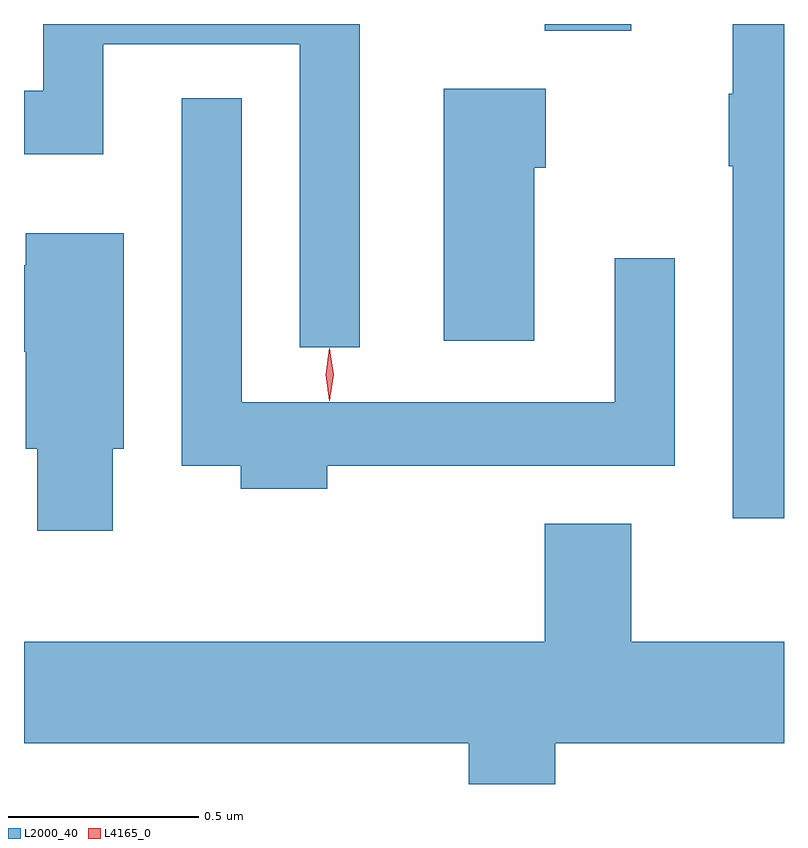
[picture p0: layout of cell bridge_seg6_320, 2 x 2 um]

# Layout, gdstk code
import gdstk
lib = gdstk.Library(unit=1e-6, precision=1e-09)
def R(c, l, rs):  # rectangles x0, y0, x1, y1
    for r in rs: c.add(gdstk.rectangle(r[:2], r[2:], *l))
def P(c, l, *ps):  # polygons
    for p in ps: c.add(gdstk.Polygon(p, *l))
L2000_40 = (2000, 40)
L4165_0 = (4165, 0)

bridge_seg6_320 = lib.new_cell('bridge_seg6_320')
R(bridge_seg6_320, L2000_40, [(1316.641,1554.131,1316.869,1554.149)])
P(bridge_seg6_320, L2000_40, [(1317.271,1554.149),(1317.136,1554.149),(1317.136,1553.965),(1317.126,1553.965),(1317.126,1553.775),(1317.136,1553.775),(1317.136,1552.848),(1317.271,1552.848)],
  [(1316.154,1554.149),(1315.321,1554.149),(1315.321,1553.974),(1315.271,1553.974),(1315.271,1553.806),(1315.479,1553.806),(1315.479,1554.096),(1315.996,1554.096),(1315.996,1553.298),(1316.154,1553.298)],
  [(1316.614,1553.771),(1316.644,1553.771),(1316.644,1553.979),(1316.376,1553.979),(1316.376,1553.316),(1316.614,1553.316)],
  [(1316.069,1552.986),(1316.984,1552.986),(1316.984,1553.533),(1316.826,1553.533),(1316.826,1553.154),(1315.844,1553.154),(1315.844,1553.953),(1315.686,1553.953),(1315.686,1552.986),(1315.841,1552.986),(1315.841,1552.926),(1316.069,1552.926)],
  [(1315.504,1553.031),(1315.534,1553.031),(1315.534,1553.599),(1315.276,1553.599),(1315.276,1553.514),(1315.271,1553.514),(1315.271,1553.286),(1315.276,1553.286),(1315.276,1553.031),(1315.306,1553.031),(1315.306,1552.816),(1315.504,1552.816)],
  [(1316.669,1552.256),(1317.271,1552.256),(1317.271,1552.524),(1316.869,1552.524),(1316.869,1552.834),(1316.641,1552.834),(1316.641,1552.524),(1315.271,1552.524),(1315.271,1552.256),(1316.441,1552.256),(1316.441,1552.149),(1316.669,1552.149)])
P(bridge_seg6_320, L4165_0, [(1316.075,1553.159),(1316.075,1553.16),(1316.065,1553.226),(1316.075,1553.292),(1316.075,1553.293),(1316.076,1553.292),(1316.086,1553.226),(1316.076,1553.16)],
  [(1316.074,1553.157),(1316.065,1553.226),(1316.074,1553.296),(1316.075,1553.296),(1316.075,1553.296),(1316.085,1553.226),(1316.075,1553.157),(1316.075,1553.157)])

lib.write_gds('bridge_seg6_320.gds')
